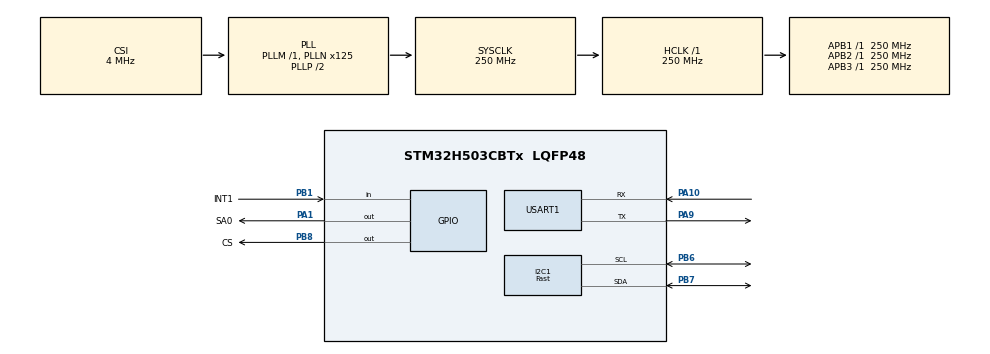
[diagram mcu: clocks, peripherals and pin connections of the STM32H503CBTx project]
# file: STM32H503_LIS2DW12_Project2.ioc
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I2C1.I2C_Speed_Mode=I2C_Fast
I2C1.Timing=0x10C043E5
Mcu.Family=STM32H5
Mcu.Name=STM32H503CBTx
Mcu.Package=LQFP48
NVIC.PriorityGroup=NVIC_PRIORITYGROUP_4
PA1.GPIO_Label=SA0
PA1.Signal=GPIO_Output
PA10.Mode=Asynchronous
PA10.Signal=USART1_RX
PA9.Mode=Asynchronous
PA9.Signal=USART1_TX
PB1.GPIO_Label=INT1
PB1.Signal=GPIO_Input
PB6.Mode=I2C
PB6.Signal=I2C1_SCL
PB7.Mode=I2C
PB7.Signal=I2C1_SDA
PB8.GPIO_Label=CS
PB8.Signal=GPIO_Output
ProjectManager.HeapSize=0x2000
ProjectManager.StackSize=0x4000
ProjectManager.TargetToolchain=MDK-ARM V5.37
RCC.ADCFreq_Value=250000000
RCC.AHBFreq_Value=250000000
RCC.APB1Freq_Value=250000000
RCC.APB1TimFreq_Value=250000000
RCC.APB2Freq_Value=250000000
RCC.APB2TimFreq_Value=250000000
RCC.APB3Freq_Value=250000000
RCC.CSI_VALUE=4000000
RCC.CortexFreq_Value=250000000
RCC.EPOD_VALUE=4000000
RCC.HCLKFreq_Value=250000000
RCC.HSE_VALUE=25000000
RCC.HSI48_VALUE=48000000
RCC.HSI_VALUE=64000000
RCC.LSE_VALUE=32768
RCC.LSIRC_VALUE=32000
RCC.PLL2FRACN=0
RCC.PLLFRACN=0
RCC.PLLN=125
RCC.SYSCLKFreq_VALUE=250000000
RCC.SYSCLKSource=RCC_SYSCLKSOURCE_PLLCLK
RCC.USBFreq_Value=48000000
RCC.VCOOutputFreq_Value=500000000
USART1.VirtualMode-Asynchronous=VM_ASYNC
VP_BOOTPATH_VS_BOOTPATH.Mode=BP_Activate
VP_CORTEX_M33_NS_VS_Hclk.Mode=Hclk_Mode
VP_ICACHE_VS_ICACHE.Mode=DirectMappedCache
VP_MEMORYMAP_VS_MEMORYMAP.Mode=CurAppReg
VP_PWR_VS_LPOM.Mode=PowerOptimisation
VP_PWR_VS_SECSignals.Mode=Security/Privilege
board=custom

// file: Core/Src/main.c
/* USER CODE BEGIN Header */
/**
  ******************************************************************************
  * @file           : main.c
  * @brief          : Main program body
  ******************************************************************************
  * @attention
  *
  * Copyright (c) 2025 STMicroelectronics.
  * All rights reserved.
  *
  * This software is licensed under terms that can be found in the LICENSE file
  * in the root directory of this software component.
  * If no LICENSE file comes with this software, it is provided AS-IS.
  *
  ******************************************************************************
  */
/* USER CODE END Header */
#include "main.h"
#include "i2c.h"
#include "icache.h"
#include "usart.h"
#include "gpio.h"

/* USER CODE BEGIN Includes */
#include "stdio.h"

#include "lis2dw12_reg.h"
#include <string.h>

/* USER CODE END Includes */

void SystemClock_Config(void);
/* USER CODE BEGIN PFP */
int fputc(int ch, FILE *f){
	HAL_UART_Transmit(&huart1 , (uint8_t *)&ch, 1, 0xFFFF);
	return ch;
}
/* USER CODE END PFP */

/* USER CODE BEGIN 0 */
#define SENSOR_BUS hi2c1

/* Private macro -------------------------------------------------------------*/
#define    BOOT_TIME            20 //ms

/* Private variables ---------------------------------------------------------*/
static int16_t data_raw_acceleration[3];
static float_t acceleration_mg[3];
static uint8_t whoamI, rst;
static uint8_t tx_buffer[1000];
static lis2dw12_ctrl4_int1_pad_ctrl_t  ctrl4_int1_pad;

/* Extern variables ----------------------------------------------------------*/

/* Private functions ---------------------------------------------------------*/
/*
 *   WARNING:
 *   Functions declare in this section are defined at the end of this file
 *   and are strictly related to the hardware platform used.
 *
 */
static int32_t platform_write(void *handle, uint8_t reg, const uint8_t *bufp,
                              uint16_t len);
static int32_t platform_read(void *handle, uint8_t reg, uint8_t *bufp,
                             uint16_t len);
static void tx_com( uint8_t *tx_buffer, uint16_t len );
static void platform_delay(uint32_t ms);
static void platform_init(void);
/* USER CODE END 0 */

int main(void)
{

  /* MCU Configuration--------------------------------------------------------*/

  /* Reset of all peripherals, Initializes the Flash interface and the Systick. */
  HAL_Init();

  /* Configure the system clock */
  SystemClock_Config();

  /* Initialize all configured peripherals */
  MX_GPIO_Init();
  MX_I2C1_Init();
  MX_ICACHE_Init();
  MX_USART1_UART_Init();
  /* USER CODE BEGIN 2 */
	HAL_GPIO_WritePin(CS_GPIO_Port, CS_Pin, GPIO_PIN_SET);
  HAL_GPIO_WritePin(SA0_GPIO_Port, SA0_Pin, GPIO_PIN_SET);
	HAL_Delay(100);

  /* Initialize mems driver interface */
  stmdev_ctx_t dev_ctx;
  dev_ctx.write_reg = platform_write;
  dev_ctx.read_reg = platform_read;
  dev_ctx.mdelay = platform_delay;
  dev_ctx.handle = &SENSOR_BUS;
  /* Initialize platform specific hardware */
//  platform_init();
  /* Wait sensor boot time */
  platform_delay(BOOT_TIME);
  /* Check device ID */
  lis2dw12_device_id_get(&dev_ctx, &whoamI);
	printf("LIS2DW12_ID=0x%x,whoamI=0x%x",LIS2DW12_ID,whoamI);
  if (whoamI != LIS2DW12_ID)
    while (1) {
      /* manage here device not found */
    }

  /* Restore default configuration */
  lis2dw12_reset_set(&dev_ctx, PROPERTY_ENABLE);

  do {
    lis2dw12_reset_get(&dev_ctx, &rst);
  } while (rst);

  /* Enable Block Data Update */
  lis2dw12_block_data_update_set(&dev_ctx, PROPERTY_ENABLE);
  //lis2dw12_cs_mode_set(&dev_ctx, LIS2DW12_PULL_UP_DISCONNECT);
  //lis2dw12_i2c_interface_set(&dev_ctx, LIS2DW12_I2C_DISABLE);
  //lis2dw12_spi_mode_set(&dev_ctx, LIS2DW12_SPI_3_WIRE);
  lis2dw12_int_notification_set(&dev_ctx, LIS2DW12_INT_LATCHED);
  lis2dw12_pin_polarity_set(&dev_ctx, LIS2DW12_ACTIVE_LOW);
  lis2dw12_pin_int1_route_get(&dev_ctx, &ctrl4_int1_pad);
  ctrl4_int1_pad.int1_drdy = PROPERTY_ENABLE;
  lis2dw12_pin_int1_route_set(&dev_ctx, &ctrl4_int1_pad);
  /* Set full scale */
  lis2dw12_full_scale_set(&dev_ctx, LIS2DW12_2g);
  /* Configure filtering chain accelerometer */
  lis2dw12_filter_path_set(&dev_ctx, LIS2DW12_LPF_ON_OUT);
  lis2dw12_filter_bandwidth_set(&dev_ctx, LIS2DW12_ODR_DIV_10);
  /* Configure power mode and Output Data Rate */
  lis2dw12_power_mode_set(&dev_ctx, LIS2DW12_CONT_LOW_PWR_12bit);
  lis2dw12_data_rate_set(&dev_ctx, LIS2DW12_XL_SET_SW_TRIG);
  /* USER CODE END 2 */

  /* Infinite loop */
  /* USER CODE BEGIN WHILE */
  while (1)
  {

			/* polling on DRDY signal */
    if (GPIO_PIN_RESET == HAL_GPIO_ReadPin(INT1_GPIO_Port, INT1_Pin)) {
      /* Read acceleration data */
      memset(data_raw_acceleration, 0x00, 3 * sizeof(int16_t));
      lis2dw12_acceleration_raw_get(&dev_ctx, data_raw_acceleration);
      acceleration_mg[0] = lis2dw12_from_fs2_lp1_to_mg(
                             data_raw_acceleration[0]);
      acceleration_mg[1] = lis2dw12_from_fs2_lp1_to_mg(
                             data_raw_acceleration[1]);
      acceleration_mg[2] = lis2dw12_from_fs2_lp1_to_mg(
                             data_raw_acceleration[2]);

      lis2dw12_data_rate_set(&dev_ctx, LIS2DW12_XL_SET_SW_TRIG);
			printf("Acceleration [mg]:%4.2f\t%4.2f\t%4.2f\r\n",
              acceleration_mg[0], acceleration_mg[1], acceleration_mg[2]);
		}

    /* USER CODE END WHILE */

  }
}

void SystemClock_Config(void)
{
  RCC_OscInitTypeDef RCC_OscInitStruct = {0};
  RCC_ClkInitTypeDef RCC_ClkInitStruct = {0};

  /** Configure the main internal regulator output voltage
  */
  __HAL_PWR_VOLTAGESCALING_CONFIG(PWR_REGULATOR_VOLTAGE_SCALE0);

  while(!__HAL_PWR_GET_FLAG(PWR_FLAG_VOSRDY)) {}

  /** Initializes the RCC Oscillators according to the specified parameters
  * in the RCC_OscInitTypeDef structure.
  */
  RCC_OscInitStruct.OscillatorType = RCC_OSCILLATORTYPE_CSI;
  RCC_OscInitStruct.CSIState = RCC_CSI_ON;
  RCC_OscInitStruct.CSICalibrationValue = RCC_CSICALIBRATION_DEFAULT;
  RCC_OscInitStruct.PLL.PLLState = RCC_PLL_ON;
  RCC_OscInitStruct.PLL.PLLSource = RCC_PLL1_SOURCE_CSI;
  RCC_OscInitStruct.PLL.PLLM = 1;
  RCC_OscInitStruct.PLL.PLLN = 125;
  RCC_OscInitStruct.PLL.PLLP = 2;
  RCC_OscInitStruct.PLL.PLLQ = 2;
  RCC_OscInitStruct.PLL.PLLR = 2;
  RCC_OscInitStruct.PLL.PLLRGE = RCC_PLL1_VCIRANGE_2;
  RCC_OscInitStruct.PLL.PLLVCOSEL = RCC_PLL1_VCORANGE_WIDE;
  RCC_OscInitStruct.PLL.PLLFRACN = 0;
  if (HAL_RCC_OscConfig(&RCC_OscInitStruct) != HAL_OK)
  {
    Error_Handler();
  }

  /** Initializes the CPU, AHB and APB buses clocks
  */
  RCC_ClkInitStruct.ClockType = RCC_CLOCKTYPE_HCLK|RCC_CLOCKTYPE_SYSCLK
                              |RCC_CLOCKTYPE_PCLK1|RCC_CLOCKTYPE_PCLK2
                              |RCC_CLOCKTYPE_PCLK3;
  RCC_ClkInitStruct.SYSCLKSource = RCC_SYSCLKSOURCE_PLLCLK;
  RCC_ClkInitStruct.AHBCLKDivider = RCC_SYSCLK_DIV1;
  RCC_ClkInitStruct.APB1CLKDivider = RCC_HCLK_DIV1;
  RCC_ClkInitStruct.APB2CLKDivider = RCC_HCLK_DIV1;
  RCC_ClkInitStruct.APB3CLKDivider = RCC_HCLK_DIV1;

  if (HAL_RCC_ClockConfig(&RCC_ClkInitStruct, FLASH_LATENCY_5) != HAL_OK)
  {
    Error_Handler();
  }

  /** Configure the programming delay
  */
  __HAL_FLASH_SET_PROGRAM_DELAY(FLASH_PROGRAMMING_DELAY_2);
}

/* USER CODE BEGIN 4 */
/*
 * @brief  Write generic device register (platform dependent)
 *
 * @param  handle    customizable argument. In this examples is used in
 *                   order to select the correct sensor bus handler.
 * @param  reg       register to write
 * @param  bufp      pointer to data to write in register reg
 * @param  len       number of consecutive register to write
 *
 */
static int32_t platform_write(void *handle, uint8_t reg, const uint8_t *bufp,
                              uint16_t len)
{

  HAL_I2C_Mem_Write(handle, LIS2DW12_I2C_ADD_H, reg,
                    I2C_MEMADD_SIZE_8BIT, (uint8_t*) bufp, len, 1000);

  return 0;
}

/*
 * @brief  Read generic device register (platform dependent)
 *
 * @param  handle    customizable argument. In this examples is used in
 *                   order to select the correct sensor bus handler.
 * @param  reg       register to read
 * @param  bufp      pointer to buffer that store the data read
 * @param  len       number of consecutive register to read
 *
 */
static int32_t platform_read(void *handle, uint8_t reg, uint8_t *bufp,
                             uint16_t len)
{
  HAL_I2C_Mem_Read(handle, LIS2DW12_I2C_ADD_H, reg,
                   I2C_MEMADD_SIZE_8BIT, bufp, len, 1000);
  return 0;
}

/*
 * @brief  platform specific delay (platform dependent)
 *
 * @param  ms        delay in ms
 *
 */
static void platform_delay(uint32_t ms)
{
  HAL_Delay(ms);
}
/* USER CODE END 4 */

void Error_Handler(void)
{
  __disable_irq();
  while (1)
  {
  }
}
